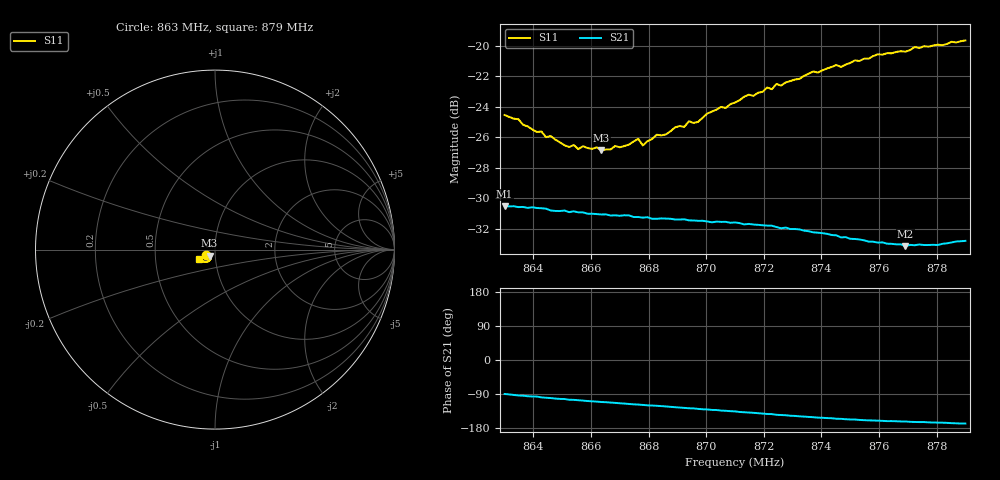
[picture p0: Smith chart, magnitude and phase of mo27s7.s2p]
# HZ S RI R 50
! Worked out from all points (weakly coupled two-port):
!   101 points, 863 MHz to 879 MHz, reference 50 ohm
!   highest |S21| = -30.53 dB at 863 MHz (marker M1); lowest = -33.2 dB at 876.92 MHz (marker M2)
!   lowest |S11| = -26.9 dB at 866.36 MHz (marker M3), VSWR 1.10, Z = 47 - j3.18 ohm
!   |S11| at or under -10 dB: start of sweep to end of sweep
!   S12 and S22 are empty: the file has one direction only
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8.63e8  -0.0498 -0.0322  0.000167 -0.0297  0 0  0 0
8.6508e8  -0.0358 -0.0307  -0.00647 -0.0281  0 0  0 0
8.654e8  -0.0343 -0.0325  -0.0075 -0.0276  0 0  0 0
8.6556e8  -0.0322 -0.0325  -0.00787 -0.0273  0 0  0 0
8.6572e8  -0.0325 -0.0337  -0.00833 -0.0271  0 0  0 0
8.6636e8  -0.0302 -0.0338  -0.00995 -0.0261  0 0  0 0
8.6716e8  -0.0256 -0.0393  -0.0117 -0.0252  0 0  0 0
8.6764e8  -0.026 -0.0421  -0.0127 -0.0243  0 0  0 0
8.678e8  -0.0246 -0.0402  -0.013 -0.024  0 0  0 0
8.6828e8  -0.0252 -0.0445  -0.0138 -0.0232  0 0  0 0
8.6844e8  -0.0234 -0.0451  -0.0142 -0.0231  0 0  0 0
8.6892e8  -0.0244 -0.0482  -0.0153 -0.0221  0 0  0 0
8.6924e8  -0.0233 -0.0489  -0.016 -0.0217  0 0  0 0
8.694e8  -0.0252 -0.0506  -0.0162 -0.0212  0 0  0 0
8.6972e8  -0.0248 -0.0506  -0.0168 -0.0207  0 0  0 0
8.7004e8  -0.0267 -0.0537  -0.0172 -0.0202  0 0  0 0
8.71e8  -0.0285 -0.0585  -0.0188 -0.0184  0 0  0 0
8.7372e8  -0.0458 -0.0685  -0.0213 -0.0118  0 0  0 0
8.7644e8  -0.0697 -0.0639  -0.0212 -0.00719  0 0  0 0
8.7692e8  -0.0732 -0.0616  -0.0209 -0.00671  0 0  0 0
8.7724e8  -0.0778 -0.0614  -0.0212 -0.00628  0 0  0 0
8.79e8  -0.0915 -0.0498  -0.0224 -0.00488  0 0  0 0
